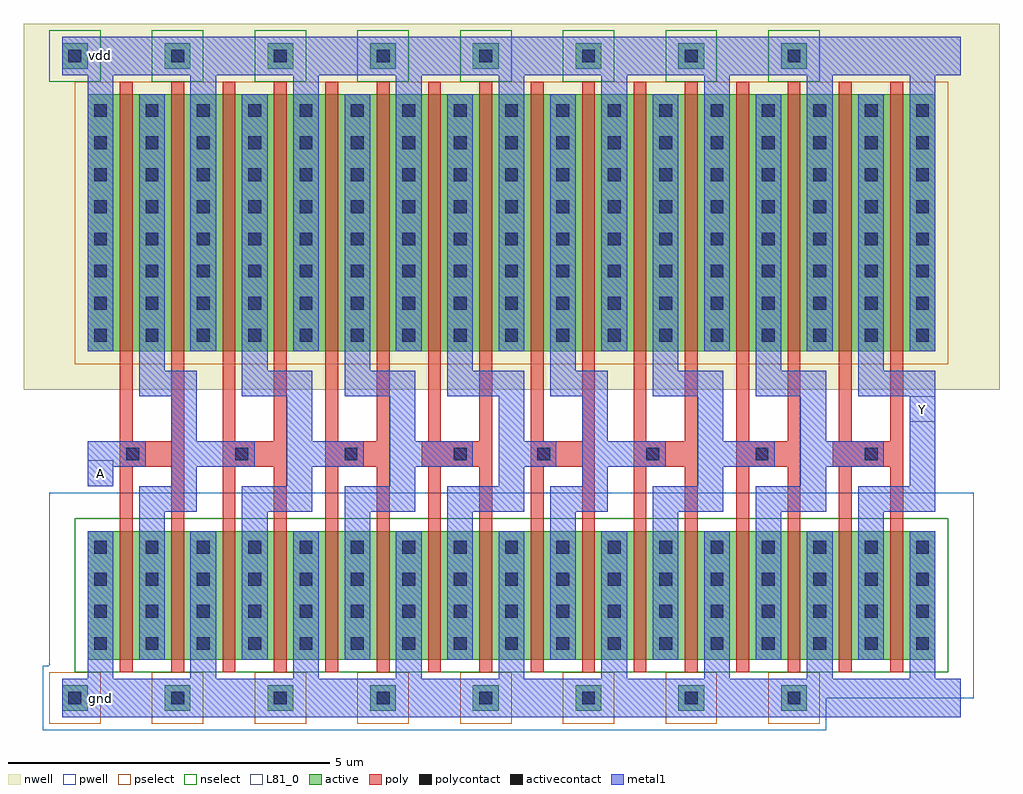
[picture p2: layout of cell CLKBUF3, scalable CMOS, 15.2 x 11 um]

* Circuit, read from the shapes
.subckt CLKBUF3 A Y gnd vdd
M1 n1 A gnd gnd nfet w=2u l=0.2u m=2
M2 n2 n1 gnd gnd nfet w=2u l=0.2u m=2
M3 n3 n2 gnd gnd nfet w=2u l=0.2u m=2
M4 n4 n3 gnd gnd nfet w=2u l=0.2u m=2
M5 n5 n4 gnd gnd nfet w=2u l=0.2u m=2
M6 n6 n5 gnd gnd nfet w=2u l=0.2u m=2
M7 n7 n6 gnd gnd nfet w=2u l=0.2u m=2
M8 Y n7 gnd gnd nfet w=2u l=0.2u m=2
M9 n1 A vdd vdd pfet w=4u l=0.2u m=2
M10 n2 n1 vdd vdd pfet w=4u l=0.2u m=2
M11 n3 n2 vdd vdd pfet w=4u l=0.2u m=2
M12 n4 n3 vdd vdd pfet w=4u l=0.2u m=2
M13 n5 n4 vdd vdd pfet w=4u l=0.2u m=2
M14 n6 n5 vdd vdd pfet w=4u l=0.2u m=2
M15 n7 n6 vdd vdd pfet w=4u l=0.2u m=2
M16 Y n7 vdd vdd pfet w=4u l=0.2u m=2
.ends

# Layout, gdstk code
import gdstk
lib = gdstk.Library(unit=1e-6, precision=1e-09)
def R(c, l, rs):  # rectangles x0, y0, x1, y1
    for r in rs: c.add(gdstk.rectangle(r[:2], r[2:], *l))
def A(c, l, x, y, w, h, nx, ny, dx, dy):  # array of equal rectangles
    R(c, l, [(x+i*dx, y+j*dy, x+i*dx+w, y+j*dy+h) for i in range(nx) for j in range(ny)])
pwell = (41, 0)
nwell = (42, 0)
active = (43, 0)
pselect = (44, 0)
nselect = (45, 0)
poly = (46, 0)
polycontact = (47, 0)
activecontact = (48, 0)
metal1 = (49, 0)
L81_0 = (81, 0)

clkbuf3 = lib.new_cell('CLKBUF3')
R(clkbuf3, pwell, [(-0.5,-0.5,11.7,0), (-0.5,0,14,0.5), (-0.4,0.5,14,3.2)])
R(clkbuf3, nwell, [(-0.8,4.8,14.4,10.5)])
A(clkbuf3, active, -0.2, -0.2, 0.4, 0.4, 8, 2, 1.6, 10)
R(clkbuf3, active, [(0.2,0.6,13.4,2.6), (0.2,5.4,13.4,9.4)])
A(clkbuf3, pselect, -0.4, -0.4, 0.8, 0.8, 8, 1, 1.6, 0)
R(clkbuf3, pselect, [(0,5.2,13.6,9.6)])
A(clkbuf3, nselect, -0.4, 9.6, 0.8, 0.8, 8, 1, 1.6, 0)
R(clkbuf3, nselect, [(0,0.4,13.6,2.8)])
A(clkbuf3, poly, 0.7, 0.4, 0.2, 3.2, 16, 1, 0.8, 0)
A(clkbuf3, poly, 0.7, 3.6, 1, 0.4, 3, 1, 1.6, 0)
A(clkbuf3, poly, 7.1, 3.6, 1, 0.4, 3, 1, 1.6, 0)
A(clkbuf3, poly, 0.7, 4, 0.2, 5.6, 16, 1, 0.8, 0)
R(clkbuf3, poly, [(5.4,3.6,6.5,4), (11.8,3.6,12.9,4)])
A(clkbuf3, polycontact, 0.8, 3.7, 0.2, 0.2, 4, 1, 1.7, 0)
A(clkbuf3, polycontact, 7.2, 3.7, 0.2, 0.2, 4, 1, 1.7, 0)
A(clkbuf3, activecontact, -0.1, -0.1, 0.2, 0.2, 8, 2, 1.6, 10)
A(clkbuf3, activecontact, 0.3, 0.75, 0.2, 0.2, 17, 4, 0.8, 0.5)
A(clkbuf3, activecontact, 0.3, 5.55, 0.2, 0.2, 17, 8, 0.8, 0.5)
A(clkbuf3, metal1, 0.2, 0.3, 0.4, 2.3, 9, 1, 1.6, 0)
A(clkbuf3, metal1, 1, 0.6, 0.4, 2.3, 8, 1, 1.6, 0)
A(clkbuf3, metal1, 1, 5.1, 0.4, 4.3, 8, 1, 1.6, 0)
A(clkbuf3, metal1, 0.2, 5.4, 0.4, 4.3, 9, 1, 1.6, 0)
R(clkbuf3, metal1, [(-0.2,-0.3,13.8,0.3), (1,2.9,1.9,3.3), (2.6,2.9,3.7,3.3), (4.2,2.9,5.3,3.3), (5.8,2.9,7,3.3), (7.4,2.9,8.3,3.3), (9,2.9,10.1,3.3), (10.6,2.9,11.7,3.3), (12.2,2.9,13.4,3.3), (0.2,3.3,0.6,3.6), (1.5,3.3,1.9,3.6), (3.3,3.3,3.7,3.6), (4.9,3.3,5.3,3.6), (6.6,3.3,7,3.6), (7.9,3.3,8.3,3.6), (9.7,3.3,10.1,3.6), (11.3,3.3,11.7,3.6), (13,3.3,13.4,4.7), (0.2,3.6,1.1,4), (1.5,3.6,2.8,4), (3.3,3.6,4.5,4), (4.9,3.6,6.2,4), (6.6,3.6,7.5,4), (7.9,3.6,9.2,4), (9.7,3.6,10.9,4), (11.3,3.6,12.6,4), (1.5,4,1.9,4.7), (3.3,4,3.7,4.7), (4.9,4,5.3,4.7), (6.6,4,7,4.7), (7.9,4,8.3,4.7), (9.7,4,10.1,4.7), (11.3,4,11.7,4.7), (1,4.7,1.9,5.1), (2.6,4.7,3.7,5.1), (4.2,4.7,5.3,5.1), (5.8,4.7,7,5.1), (7.4,4.7,8.3,5.1), (9,4.7,10.1,5.1), (10.6,4.7,11.7,5.1), (12.2,4.7,13.4,5.1), (-0.2,9.7,13.8,10.3)])
R(clkbuf3, L81_0, [(0.2,3.3,0.6,3.7), (13,4.3,13.4,4.7)])
clkbuf3.add(gdstk.Label('gnd', (0.4,0), layer=49, texttype=0))
clkbuf3.add(gdstk.Label('vdd', (0.4,10), layer=49, texttype=0))
clkbuf3.add(gdstk.Label('A', (0.4,3.5), layer=49, texttype=0))
clkbuf3.add(gdstk.Label('Y', (13.2,4.5), layer=49, texttype=0))

lib.write_gds('CLKBUF3.gds')
